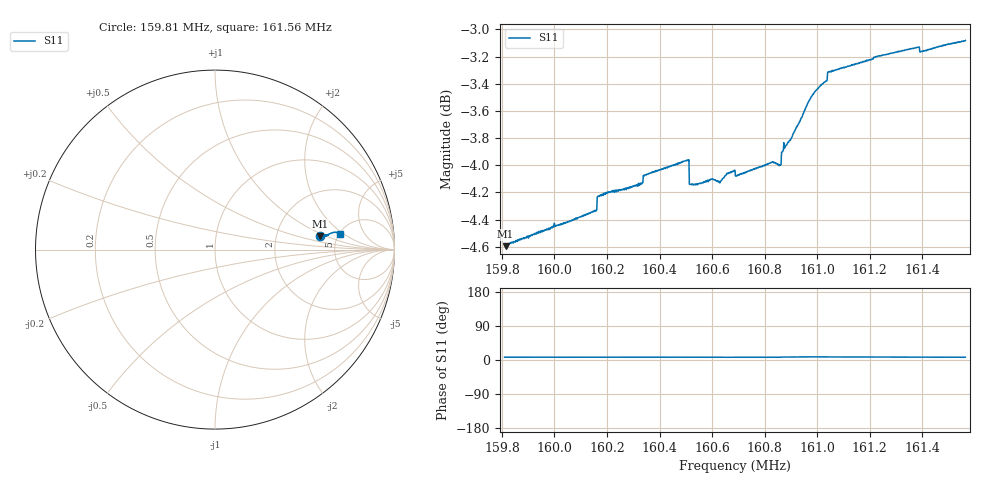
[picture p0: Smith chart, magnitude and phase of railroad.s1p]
! Calibrated averaged scanner-service zoom
# Hz S RI R 50
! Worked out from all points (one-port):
!   1001 points, 159.81 MHz to 161.56 MHz, reference 50 ohm
!   lowest |S11| = -4.6 dB at 159.81 MHz (marker M1), VSWR 3.87, Z = 183 + j42.7 ohm
!   |S11| at or under -10 dB: nowhere
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1.5981e8  0.5846 0.0762
1.598135e8  0.5842 0.0763
1.600294e8  0.5958 0.0754
1.601522e8  0.6023 0.0738
1.601733e8  0.6103 0.0759
1.602488e8  0.6133 0.0766
1.603277e8  0.6163 0.0776
1.60347e8  0.6205 0.0813
1.604681e8  0.6267 0.0811
1.605032e8  0.6282 0.081
1.605225e8  0.6156 0.0789
1.60598e8  0.6187 0.0786
1.606296e8  0.6166 0.0788
1.606629e8  0.6221 0.0782
1.606875e8  0.6233 0.0788
1.60698e8  0.6208 0.0789
1.608244e8  0.6274 0.0797
1.608542e8  0.6263 0.08
1.608735e8  0.6373 0.0863
1.609069e8  0.6411 0.089
1.609701e8  0.6596 0.0956
1.610297e8  0.6701 0.0965
1.61049e8  0.6765 0.096
1.611262e8  0.6798 0.095
1.613456e8  0.6898 0.0918
1.613807e8  0.6912 0.0916
1.614e8  0.6887 0.092
1.61565e8  0.6958 0.0882
